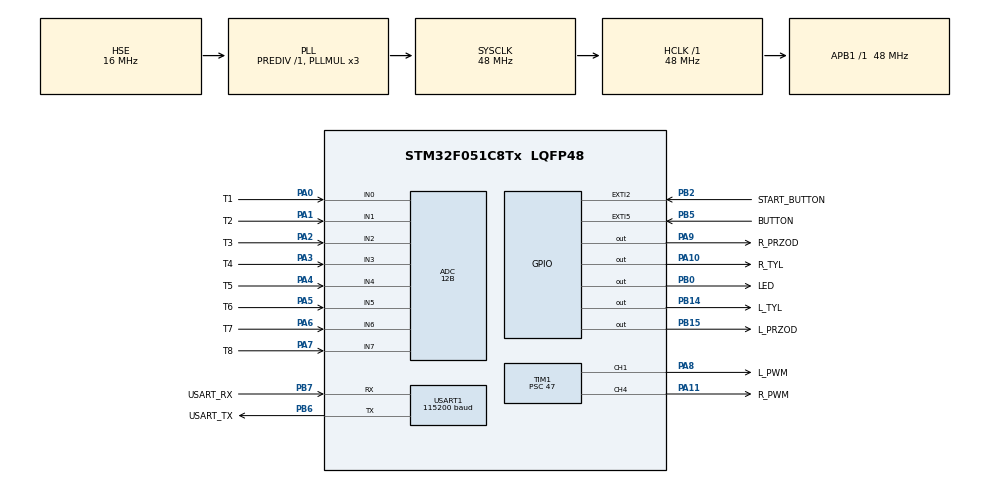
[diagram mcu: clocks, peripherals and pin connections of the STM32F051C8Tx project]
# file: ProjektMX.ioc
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ADC.ClockPrescaler=ADC_CLOCK_ASYNC_DIV1
ADC.ContinuousConvMode=ENABLE
ADC.DMAContinuousRequests=ENABLE
ADC.DataAlign=ADC_DATAALIGN_RIGHT
ADC.DiscontinuousConvMode=DISABLE
ADC.EOCSelection=ADC_EOC_SEQ_CONV
ADC.EnableAnalogWatchDog=false
ADC.ExternalTrigConv=ADC_SOFTWARE_START
ADC.ExternalTrigConvEdge=ADC_EXTERNALTRIGCONVEDGE_NONE
ADC.LowPowerAutoPowerOff=DISABLE
ADC.LowPowerAutoWait=DISABLE
ADC.Overrun=ADC_OVR_DATA_OVERWRITTEN
ADC.Rank=ADC_RANK_CHANNEL_NUMBER
ADC.Resolution=ADC_RESOLUTION_12B
ADC.SamplingTime=ADC_SAMPLETIME_239CYCLES_5
ADC.ScanConvMode=ADC_SCAN_DIRECTION_FORWARD
Dma.ADC.0.Direction=DMA_PERIPH_TO_MEMORY
Dma.ADC.0.Instance=DMA1_Channel1
Dma.ADC.0.MemDataAlignment=DMA_MDATAALIGN_HALFWORD
Dma.ADC.0.MemInc=DMA_MINC_ENABLE
Dma.ADC.0.Mode=DMA_CIRCULAR
Dma.ADC.0.PeriphDataAlignment=DMA_PDATAALIGN_HALFWORD
Dma.ADC.0.PeriphInc=DMA_PINC_DISABLE
Dma.ADC.0.Priority=DMA_PRIORITY_VERY_HIGH
Dma.Request0=ADC
Mcu.Family=STM32F0
Mcu.Name=STM32F051C8Tx
Mcu.Package=LQFP48
NVIC.DMA1_Channel1_IRQn=true\:0\:0\:false\:false\:true
NVIC.EXTI2_3_IRQn=true\:0\:0\:false\:false\:true
NVIC.EXTI4_15_IRQn=true\:0\:0\:false\:false\:true
NVIC.RCC_IRQn=true\:0\:0\:false\:false\:true
NVIC.TIM6_DAC_IRQn=true\:0\:0\:false\:false\:true
NVIC.USART1_IRQn=true\:0\:0\:false\:false\:true
PA0.GPIO_Label=T1
PA0.Mode=IN0
PA0.Signal=ADC_IN0
PA1.GPIO_Label=T2
PA1.Mode=IN1
PA1.Signal=ADC_IN1
PA10.GPIO_Label=R_TYL
PA10.Signal=GPIO_Output
PA11.GPIO_Label=R_PWM
PA11.Signal=S_TIM1_CH4
PA13.Mode=Serial_Wire
PA13.Signal=SYS_SWDIO
PA14.Mode=Serial_Wire
PA14.Signal=SYS_SWCLK
PA2.GPIO_Label=T3
PA2.Mode=IN2
PA2.Signal=ADC_IN2
PA3.GPIO_Label=T4
PA3.Mode=IN3
PA3.Signal=ADC_IN3
PA4.GPIO_Label=T5
PA4.Mode=IN4
PA4.Signal=ADC_IN4
PA5.GPIO_Label=T6
PA5.Mode=IN5
PA5.Signal=ADC_IN5
PA6.GPIO_Label=T7
PA6.Mode=IN6
PA6.Signal=ADC_IN6
PA7.GPIO_Label=T8
PA7.Mode=IN7
PA7.Signal=ADC_IN7
PA8.GPIO_Label=L_PWM
PA8.Signal=S_TIM1_CH1
PA9.GPIO_Label=R_PRZOD
PA9.Signal=GPIO_Output
PB0.GPIO_Label=LED
PB0.Signal=GPIO_Output
PB14.GPIO_Label=L_TYL
PB14.Signal=GPIO_Output
PB15.GPIO_Label=L_PRZOD
PB15.Signal=GPIO_Output
PB2.GPIO_Label=START_BUTTON
PB2.GPIO_PuPd=GPIO_PULLUP
PB2.Signal=GPXTI2
PB5.GPIO_Label=BUTTON
PB5.GPIO_PuPd=GPIO_PULLUP
PB5.Signal=GPXTI5
PB6.GPIO_Label=USART_TX
PB6.Mode=Asynchronous
PB6.Signal=USART1_TX
PB7.GPIO_Label=USART_RX
PB7.Mode=Asynchronous
PB7.Signal=USART1_RX
PF0-OSC_IN.GPIO_Label=OSC_IN
PF0-OSC_IN.Mode=HSE-External-Oscillator
PF0-OSC_IN.Signal=RCC_OSC_IN
PF1-OSC_OUT.GPIO_Label=OSC_OUT
PF1-OSC_OUT.Mode=HSE-External-Oscillator
PF1-OSC_OUT.Signal=RCC_OSC_OUT
ProjectManager.HeapSize=0x200
ProjectManager.StackSize=0x400
ProjectManager.TargetToolchain=SW4STM32
RCC.AHBFreq_Value=48000000
RCC.APB1Freq_Value=48000000
RCC.APB1TimFreq_Value=48000000
RCC.CECEnable=false
RCC.ClockTypeHCLK=RCC_CLOCKTYPE_HCLK
RCC.ClockTypePCLK1=RCC_CLOCKTYPE_PCLK1
RCC.DATA_CACHE_ENABLE=0
RCC.EnableHSE=true
RCC.EnableHSERTCDevisor=false
RCC.EnableLSE=false
RCC.EnableLSERTC=false
RCC.EnableMCOMultDivisor=false
RCC.HCLKFreq_Value=48000000
RCC.HSEState=RCC_HSE_ON
RCC.HSE_VALUE=16000000
RCC.HSI14State=RCC_HSI14_ON
RCC.HSI48State=RCC_HSI48_OFF
RCC.HSIState=RCC_HSI_ON
RCC.I2C1Enable=false
RCC.INSTRUCTION_CACHE_ENABLE=0
RCC.IWDGEnable=false
RCC.LSIState=RCC_LSI_OFF
RCC.MCOEnable=false
RCC.OscillatorTypeHSE=RCC_OSCILLATORTYPE_HSE
RCC.OscillatorTypeHSI14=RCC_OSCILLATORTYPE_HSI14
RCC.PLLMUL=RCC_PLL_MUL3
RCC.PLLSource=RCC_PLLSOURCE_HSE
RCC.PLLSourceVirtual=RCC_PLLSOURCE_HSE
RCC.PLLState=RCC_PLL_ON
RCC.RCC_MCODiv=RCC_MCODIV_1
RCC.RCC_PERIPHCLK_USART1Var=RCC_PERIPHCLK_USART1
RCC.RTCEnable=false
RCC.SYSCLKFreq_VALUE=48000000
RCC.SYSCLKSource=RCC_SYSCLKSOURCE_PLLCLK
RCC.USART1Enable=true
RCC.USART2Enable=false
RCC.USBEnable=false
SH.S_TIM1_CH1.0=TIM1_CH1,PWM Generation1 CH1
SH.S_TIM1_CH4.0=TIM1_CH4,PWM Generation4 CH4
TIM1.Channel-PWM\ Generation1\ CH1=TIM_CHANNEL_1
TIM1.Channel-PWM\ Generation4\ CH4=TIM_CHANNEL_4
TIM1.ClearInputState=ENABLE
TIM1.OCNIdleState_1=TIM_OCNIDLESTATE_RESET
TIM1.OCNIdleState_4=TIM_OCNIDLESTATE_RESET
TIM1.OCNPolarity_1=TIM_OCNPOLARITY_HIGH
TIM1.Period=999
TIM1.Prescaler=47
TIM6.Period=9
TIM6.Prescaler=4799
TIM6.TIM_MasterSlaveMode=TIM_MASTERSLAVEMODE_DISABLE
USART1.BaudRate=115200
USART1.HwFlowCtl-Asynchronous=UART_HWCONTROL_NONE
USART1.VirtualMode-Asynchronous=VM_ASYNC
VP_TIM14_VS_ClockSourceINT.Mode=Enable_Timer
VP_TIM1_VS_ClockSourceINT.Mode=Internal
VP_TIM6_VS_ClockSourceINT.Mode=Enable_Timer
board=ProjektMX

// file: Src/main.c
/**
  ******************************************************************************
  * File Name          : main.c
  * Description        : Main program body
  ******************************************************************************
  *
  * COPYRIGHT(c) 2017 STMicroelectronics
  *
  * Redistribution and use in source and binary forms, with or without modification,
  * are permitted provided that the following conditions are met:
  *   1. Redistributions of source code must retain the above copyright notice,
  *      this list of conditions and the following disclaimer.
  *   2. Redistributions in binary form must reproduce the above copyright notice,
  *      this list of conditions and the following disclaimer in the documentation
  *      and/or other materials provided with the distribution.
  *   3. Neither the name of STMicroelectronics nor the names of its contributors
  *      may be used to endorse or promote products derived from this software
  *      without specific prior written permission.
  *
  * THIS SOFTWARE IS PROVIDED BY THE COPYRIGHT HOLDERS AND CONTRIBUTORS "AS IS"
  * AND ANY EXPRESS OR IMPLIED WARRANTIES, INCLUDING, BUT NOT LIMITED TO, THE
  * IMPLIED WARRANTIES OF MERCHANTABILITY AND FITNESS FOR A PARTICULAR PURPOSE ARE
  * DISCLAIMED. IN NO EVENT SHALL THE COPYRIGHT HOLDER OR CONTRIBUTORS BE LIABLE
  * FOR ANY DIRECT, INDIRECT, INCIDENTAL, SPECIAL, EXEMPLARY, OR CONSEQUENTIAL
  * DAMAGES (INCLUDING, BUT NOT LIMITED TO, PROCUREMENT OF SUBSTITUTE GOODS OR
  * SERVICES; LOSS OF USE, DATA, OR PROFITS; OR BUSINESS INTERRUPTION) HOWEVER
  * CAUSED AND ON ANY THEORY OF LIABILITY, WHETHER IN CONTRACT, STRICT LIABILITY,
  * OR TORT (INCLUDING NEGLIGENCE OR OTHERWISE) ARISING IN ANY WAY OUT OF THE USE
  * OF THIS SOFTWARE, EVEN IF ADVISED OF THE POSSIBILITY OF SUCH DAMAGE.
  *
  ******************************************************************************
  */
#include "main.h"
#include "stm32f0xx_hal.h"
#include "adc.h"
#include "dma.h"
#include "tim.h"
#include "usart.h"
#include "gpio.h"

/* USER CODE BEGIN PV */
/* Private variables ---------------------------------------------------------*/
	/*
	 * 0 - robot wylaczony
	 * 1 - robot w trybie linefollowera
	 * 2 - robot w trybie recznym
	 */
	uint8_t wlaczony=0,start=0; // uruchamia dzialanie robota
	/*ZMIENNE DLA TRYBU AUTOMATYCZNEGO*/
	uint16_t T[8]; // zczytuje wartoœc z czujnikow
	uint16_t petla=0; // gdy osiagnie wartosc 100 to wykonuje sie petla algorytmu
	int blad=0, pop_blad=0, Kp=1, Kd=0;
	uint8_t przestrzelony=0;
	//parametry do regulacji
	uint8_t waga=20;
	uint16_t prog=2800;
	int V_zad = 300;

	/*ZMIENNE DLA TRYBU RECZNEGO*/
	uint8_t Received;
/* USER CODE END PV */

void SystemClock_Config(void);
void Error_Handler(void);

/* USER CODE BEGIN PFP */
/* Private function prototypes -----------------------------------------------*/
void HAL_GPIO_EXTI_Callback(uint16_t GPIO_Pin);
void HAL_TIM_PeriodElapsedCallback(TIM_HandleTypeDef *htim);
/*
 * parametr to trym uruchomienia reczny=2 badz automatyczny=1
 */
void uruchom(uint8_t tryb);
void PWM(int Lewy,int Prawy);
void kalibracja();
int licz_blad();
int PD();
void HAL_UART_RxCpltCallback(UART_HandleTypeDef *huart);
/* USER CODE END PFP */

int main(void)
{

  /* MCU Configuration----------------------------------------------------------*/

  /* Reset of all peripherals, Initializes the Flash interface and the Systick. */
  HAL_Init();

  /* Configure the system clock */
  SystemClock_Config();

  /* Initialize all configured peripherals */
  MX_GPIO_Init();
  MX_DMA_Init();
  MX_ADC_Init();
  MX_TIM1_Init();
  MX_TIM14_Init();
  MX_USART1_UART_Init();
  MX_TIM6_Init();

  /* USER CODE BEGIN 2 */
  HAL_ADC_Start_DMA(&hadc,T,8);
  HAL_TIM_Base_Start_IT(&htim6);
  HAL_UART_Receive_IT(&huart1, &Received, 1);
  wlaczony=0;
  /* USER CODE END 2 */

  /* Infinite loop */
  while (1)
  {

  }

}

/** System Clock Configuration
*/
void SystemClock_Config(void)
{

  RCC_OscInitTypeDef RCC_OscInitStruct;
  RCC_ClkInitTypeDef RCC_ClkInitStruct;
  RCC_PeriphCLKInitTypeDef PeriphClkInit;

    /**Initializes the CPU, AHB and APB busses clocks
    */
  RCC_OscInitStruct.OscillatorType = RCC_OSCILLATORTYPE_HSI14|RCC_OSCILLATORTYPE_HSE;
  RCC_OscInitStruct.HSEState = RCC_HSE_ON;
  RCC_OscInitStruct.HSI14State = RCC_HSI14_ON;
  RCC_OscInitStruct.HSI14CalibrationValue = 16;
  RCC_OscInitStruct.PLL.PLLState = RCC_PLL_ON;
  RCC_OscInitStruct.PLL.PLLSource = RCC_PLLSOURCE_HSE;
  RCC_OscInitStruct.PLL.PLLMUL = RCC_PLL_MUL3;
  RCC_OscInitStruct.PLL.PREDIV = RCC_PREDIV_DIV1;
  if (HAL_RCC_OscConfig(&RCC_OscInitStruct) != HAL_OK)
  {
    Error_Handler();
  }

    /**Initializes the CPU, AHB and APB busses clocks
    */
  RCC_ClkInitStruct.ClockType = RCC_CLOCKTYPE_HCLK|RCC_CLOCKTYPE_SYSCLK
                              |RCC_CLOCKTYPE_PCLK1;
  RCC_ClkInitStruct.SYSCLKSource = RCC_SYSCLKSOURCE_PLLCLK;
  RCC_ClkInitStruct.AHBCLKDivider = RCC_SYSCLK_DIV1;
  RCC_ClkInitStruct.APB1CLKDivider = RCC_HCLK_DIV1;

  if (HAL_RCC_ClockConfig(&RCC_ClkInitStruct, FLASH_LATENCY_1) != HAL_OK)
  {
    Error_Handler();
  }

  PeriphClkInit.PeriphClockSelection = RCC_PERIPHCLK_USART1;
  PeriphClkInit.Usart1ClockSelection = RCC_USART1CLKSOURCE_PCLK1;
  if (HAL_RCCEx_PeriphCLKConfig(&PeriphClkInit) != HAL_OK)
  {
    Error_Handler();
  }

    /**Configure the Systick interrupt time
    */
  HAL_SYSTICK_Config(HAL_RCC_GetHCLKFreq()/1000);

    /**Configure the Systick
    */
  HAL_SYSTICK_CLKSourceConfig(SYSTICK_CLKSOURCE_HCLK);

  /* SysTick_IRQn interrupt configuration */
  HAL_NVIC_SetPriority(SysTick_IRQn, 0, 0);
}

/* USER CODE BEGIN 4 */
/*
 * FUNKCJA PRZYCISKOW
 * - START_BUTTON URUCHAMIA SILNIKI
 * przycisk znajduje siê po lewej stronie od gniazda miniUSB
 *
 * - RESET_BUTTON resetuje program
 * znajduje siê po lewej stronie od gniazda USB
 *
 * - BUTTON
 */
void HAL_GPIO_EXTI_Callback(uint16_t GPIO_Pin){
	if((GPIO_Pin == START_BUTTON_Pin)){
		uruchom(1);
		//kalibracja();

	}else if(GPIO_Pin == BUTTON_Pin){
		uruchom(2);
	}
}
/*
 * G£ÓWNE PRZERWANIE
 * wykonywane z f=100Hz
 */
void HAL_TIM_PeriodElapsedCallback(TIM_HandleTypeDef *htim){
 if((htim->Instance == TIM6)){
	 if(wlaczony==1){
		 petla++;
		if(petla==100){
			 petla=0;
			 blad=licz_blad();
			 int regulacja=PD();
			 PWM(V_zad + regulacja, V_zad - regulacja);
		}
	}/*else if(wlaczony==2){
		petla++;
		 if(petla==1000){
			 petla=0;
			 static uint16_t cnt = 0; // Licznik wyslanych wiadomosci
			 uint8_t data[50];// Tablica przechowujaca wysylana wiadomosc.
			 uint16_t size = 0; // Rozmiar wysylanej wiadomosci ++cnt; // Zwiekszenie licznika wyslanych wiadomosci.

			 ++cnt; // Zwiekszenie licznika wyslanych wiadomosci.
			 size = sprintf(data, "Liczba wyslanych wiadomosci: %d.\n\r", cnt); // Stworzenie wiadomosci do wyslania oraz przypisanie ilosci wysylanych znakow do zmiennej size.
			 HAL_UART_Transmit_IT(&huart1, data, size); // Rozpoczecie nadawania danych z wykorzystaniem przerwan
			// HAL_GPIO_TogglePin(LED_GPIO_Port, LED_Pin); // Zmiana stanu pinu na diodzie LED*
		 }
	}*/
 }
}

/*
 * FUNKCJA STARTU
 *funkcja startuje robota
 */
void uruchom(uint8_t tryb){
	if(wlaczony==0){
			wlaczony=tryb;
			PWM(0,0);
			HAL_TIM_PWM_Start(&htim1,TIM_CHANNEL_4);
			HAL_TIM_PWM_Start(&htim1,TIM_CHANNEL_1);
			HAL_GPIO_WritePin(LED_GPIO_Port,LED_Pin,SET);
			}
	else if((wlaczony==1)||(wlaczony==2)){
			wlaczony=0;
			PWM(0,0);
			HAL_TIM_PWM_Stop(&htim1,TIM_CHANNEL_4);
			HAL_TIM_PWM_Stop(&htim1,TIM_CHANNEL_1);
			}
}
/*
 * PWM
 * wartosc maxymalna 1000
 * wartosc minimalna -1000
 * po przekroczeniu tej wartosci wartosc i bedzie wynosila max lub min
 *
 * wartosc w granicach -50< x <50 jest zbyt mala by ruszyc robotem
 */
void PWM(int Lewy,int Prawy){
	//________LEWY SILNIK______________
	if(Lewy>0){
		HAL_GPIO_WritePin(L_TYL_GPIO_Port,L_TYL_Pin,RESET);
		HAL_GPIO_WritePin(L_PRZOD_GPIO_Port,L_PRZOD_Pin,SET);
		if(Lewy>=1000){
			TIM1->CCR1=1000;
		}else{
			TIM1->CCR1=Lewy;
		}
	}else if(Lewy<0){
		HAL_GPIO_WritePin(L_TYL_GPIO_Port,L_TYL_Pin,SET);
		HAL_GPIO_WritePin(L_PRZOD_GPIO_Port,L_PRZOD_Pin,RESET);
		if(Lewy<=-1000){
			TIM1->CCR1=-1000;
		}else{
			TIM1->CCR1=Lewy;
			}
	}else if(Lewy==0){
		HAL_GPIO_WritePin(L_TYL_GPIO_Port,L_TYL_Pin,RESET);
		HAL_GPIO_WritePin(L_PRZOD_GPIO_Port,L_PRZOD_Pin,RESET);
		TIM1->CCR1=0;
		}
	//________PRAWY SILNIK______________
	if(Prawy>0){
		HAL_GPIO_WritePin(R_TYL_GPIO_Port,R_TYL_Pin,RESET);
		HAL_GPIO_WritePin(R_PRZOD_GPIO_Port,R_PRZOD_Pin,SET);
		if(Prawy>=1000){
			TIM1->CCR4=1000;
		}else{
			TIM1->CCR4=Prawy;
		}
	}else if(Prawy<0){
		HAL_GPIO_WritePin(R_TYL_GPIO_Port,R_TYL_Pin,SET);
		HAL_GPIO_WritePin(R_PRZOD_GPIO_Port,R_PRZOD_Pin,RESET);
		if(Prawy<=-1000){
			TIM1->CCR4=-1000;
		}else{
			TIM1->CCR4=Prawy;
		}
	}else if(Prawy==0){
		HAL_GPIO_WritePin(R_TYL_GPIO_Port,R_TYL_Pin,RESET);
		HAL_GPIO_WritePin(R_PRZOD_GPIO_Port,R_PRZOD_Pin,RESET);
		TIM1->CCR4=0;
	}
}
void kalibracja(){
	prog=(T[3]-((T[0]+T[1]+T[2]+T[5]+T[6]+T[7])/6))/2;
	HAL_GPIO_TogglePin(LED_GPIO_Port,LED_Pin);
}
int licz_blad(){
	int ilosc=0;
	int waga=10;
	int err=0;
	if(T[0]>prog){
		err+=-4*waga;
		ilosc+=1;}
	if(T[1]>prog){
		err+=-3*waga;
		ilosc+=1;}
	if(T[2]>prog){
		err+=-2*waga;
		ilosc+=1;}
	if(T[3]>prog){
		err+=-0*waga; //poniewaz T[4] nie dziala tu bedzie wartosc 1
		ilosc+=0;}
	if(T[4]>prog){
		err+=1*waga;
		ilosc+=1;}
	if(T[5]>prog){
		err+=2*waga;
		ilosc+=1;}
	if(T[6]>prog){
		err+=3*waga;
		ilosc+=1;}
	if(T[7]>prog){
		err+=4*waga;
		ilosc+=1;}

	if(ilosc!=0){
		err/=ilosc;
		pop_blad=err;
	}else{
		if(err>3*waga){
			err=5*waga;
			przestrzelony=1;
		}else if(err<-3*waga){
			err=-5*waga;
			przestrzelony=2;
		}else{
			err=0;
		}
	}
	if(przestrzelony == 1 && err >= 0){
		przestrzelony = 0;
	}else if(przestrzelony == 2 && err <= 0){
		przestrzelony = 0;
	}
	return err;
}
int PD(){
	int rozniczka = blad - pop_blad;
	pop_blad = blad;
	return Kp*blad + Kd*rozniczka;
}
void HAL_UART_RxCpltCallback(UART_HandleTypeDef *huart) {
		uint8_t Data[40];
		uint16_t size = 0;
		switch (atoi(&Received)) {
	 	 	 case 0:
	 	 		 PWM(0,0);
	 	 		 break;
	 	 	 case 1:
	 	 		 PWM(V_zad,V_zad);
	 	 		 break;
	 	 	 case 2:
	 	 		 PWM(-V_zad,-V_zad);
	 	 		 break;
	 	 	 case 3:
	 	 		 PWM(V_zad*1.5,V_zad);
	 	 		 break;
	 	 	 case 4:
	 	 		 PWM(-V_zad,-V_zad);
	 	 		 break;
	 	 	 case 5:
	 	 		 PWM(V_zad*1.5,V_zad*1.5);
				 break;
	 	 	 default: // Jezeli odebrano nieobslugiwany znak
	 	 		 size = sprintf(Data, "Odebrano nieznany znak: %c\n\r", Received);
	 	 		 break;
		}
		HAL_GPIO_TogglePin(LED_GPIO_Port, LED_Pin);
	 size = sprintf(Data, "Odebrana wiadomosc: %s\n\r",&Received);
	 HAL_UART_Transmit_IT(&huart1, Data, 40); // Rozpoczecie nadawania danych z wykorzystaniem przerwan
	 HAL_UART_Receive_IT(&huart1, &Received, 1); // Ponowne w³¹czenie nas³uchiwania
}
/* USER CODE END 4 */

void Error_Handler(void)
{
  while(1)
  {
  }
}

/************************ (C) COPYRIGHT STMicroelectronics *****END OF FILE****/
